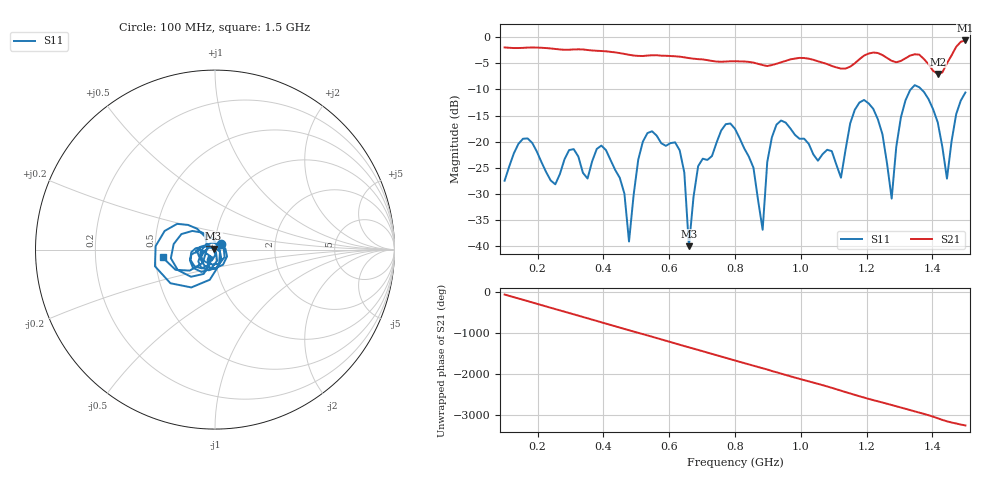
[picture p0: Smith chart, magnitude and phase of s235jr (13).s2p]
! NanoVNA-App
! Date: 2025-09-25 15:04:15
! Start: 100MHz Stop: 1,5GHz Points: 101
! S-Parameter data: F S11 S21 S12 S22
# Hz S RI R 50
!  Frequency  S11_Real  S11_Imag  S21_Real  S21_Imag  S12_Real  S12_Imag  S22_Real  S22_Imag
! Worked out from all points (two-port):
!   101 points, 100 MHz to 1.5 GHz, reference 50 ohm
!   highest |S21| = -0.63 dB at 1.5 GHz (marker M1); lowest = -7.0 dB at 1.416 GHz (marker M2)
!   |S21| within 3 dB of the highest: start of sweep to 609.7 MHz; 1.19 GHz to 1.253 GHz (63.07 MHz wide, 5.16 % of centre) (the widest 2 of 4)
!   lowest |S11| = -40.0 dB at 660 MHz (marker M3), VSWR 1.02, Z = 49.2 + j0.583 ohm
!   |S11| at or under -10 dB: start of sweep to 1.334 GHz; 1.366 GHz to end of sweep
!   S12 and S22 are empty: the file has one direction only
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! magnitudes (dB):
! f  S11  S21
! 100 MHz  -27.5  -2.0
! 156 MHz  -19.4  -2.1
! 338 MHz  -26.0  -2.4
! 408 MHz  -21.6  -2.7
! 478 MHz  -39.1  -3.4
! 520 MHz  -20.0  -3.6
! 576 MHz  -20.3  -3.5
! 632 MHz  -21.7  -3.7
! 660 MHz  -40.0  -4.0
! 688 MHz  -24.7  -4.2
! 800 MHz  -17.5  -4.6
! 884 MHz  -36.9  -5.3
! 898 MHz  -23.9  -5.5
! 926 MHz  -16.7  -5.1
! 1.038 GHz  -22.4  -4.3
! 1.122 GHz  -26.9  -6.0
! 1.192 GHz  -12.0  -3.5
! 1.276 GHz  -30.9  -4.5
! 1.332 GHz  -10.1  -3.5
! 1.416 GHz  -16.3  -7.0
! 1.444 GHz  -27.1  -5.0
! 1.5 GHz  -10.6  -0.6
